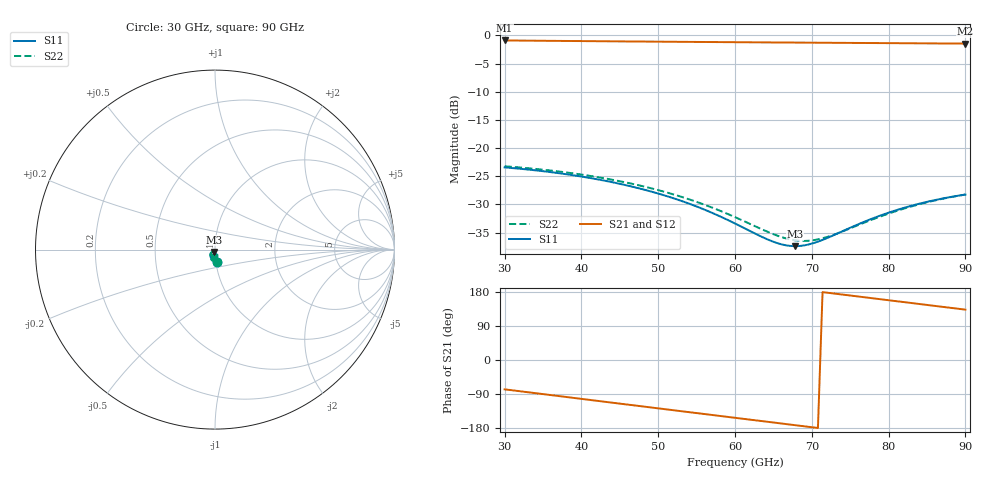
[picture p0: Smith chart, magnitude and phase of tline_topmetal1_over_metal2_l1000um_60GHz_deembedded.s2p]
! Created with skrf 2.2.0 (http://scikit-rf.org).
# GHz S DB R 50.0
! Port[1] = P1
! Port[2] = P2
!freq dBS11 angS11 dBS21 angS21 dBS12 angS12 dBS22 angS22
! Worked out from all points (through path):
!   101 points, 30 GHz to 90 GHz, reference 50 ohm
!   highest |S21| = -0.89 dB at 30 GHz (marker M1); lowest = -1.4 dB at 90 GHz (marker M2)
!   group delay of S21, straight-line fit = 6.93 ps
!   lowest |S11| = -37.4 dB at 67.8 GHz (marker M3), VSWR 1.03, Z = 49.5 - j1.25 ohm
!   |S11| at or under -10 dB: start of sweep to end of sweep
!   |S22| runs from -36.5 to -23.2 dB; largest |S21 - S12| = 1e-13
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30  -23.43 -80.3  -0.89 -77.4  -0.89 -77.4  -23.23 -80.3
32.4  -23.72 -87.2  -0.91 -83.5  -0.91 -83.5  -23.48 -87.2
34.8  -24.06 -94.0  -0.94 -89.5  -0.94 -89.5  -23.80 -93.9
37.2  -24.48 -100.6  -0.97 -95.5  -0.97 -95.5  -24.17 -100.4
40.2  -25.09 -108.5  -1.00 -103.1  -1.00 -103.1  -24.73 -108.3
42.6  -25.67 -114.6  -1.03 -109.1  -1.03 -109.1  -25.26 -114.4
45  -26.34 -120.4  -1.05 -115.1  -1.05 -115.1  -25.88 -120.1
47.4  -27.11 -125.8  -1.07 -121.1  -1.07 -121.1  -26.58 -125.4
50.4  -28.22 -131.8  -1.10 -128.6  -1.10 -128.6  -27.60 -131.5
55.2  -30.47 -138.9  -1.15 -140.6  -1.15 -140.6  -29.64 -138.8
60  -33.38 -139.9  -1.19 -152.5  -1.19 -152.5  -32.25 -141.0
64.8  -36.52 -127.3  -1.24 -164.5  -1.24 -164.5  -35.17 -132.4
66.6  -37.25 -117.5  -1.25 -168.9  -1.25 -168.9  -36.02 -125.0
67.8  -37.41 -110.1  -1.26 -171.9  -1.26 -171.9  -36.36 -118.9
69  -37.27 -102.8  -1.27 -174.9  -1.27 -174.9  -36.48 -112.3
70.2  -36.88 -96.2  -1.28 -177.9  -1.28 -177.9  -36.35 -105.9
72  -35.96 -88.6  -1.30 177.6  -1.30 177.6  -35.77 -97.4
75  -34.14 -81.8  -1.32 170.2  -1.32 170.2  -34.24 -88.4
77.4  -32.76 -80.3  -1.34 164.2  -1.34 164.2  -32.93 -85.4
80.4  -31.28 -81.5  -1.37 156.7  -1.37 156.7  -31.44 -85.1
85.2  -29.47 -87.2  -1.40 144.8  -1.40 144.8  -29.56 -89.3
90  -28.25 -95.2  -1.44 132.9  -1.44 132.9  -28.24 -96.2
